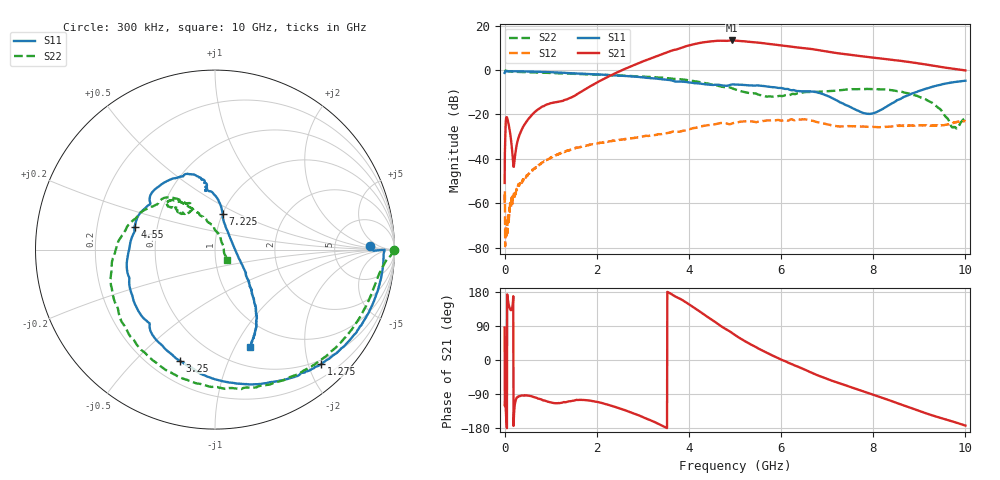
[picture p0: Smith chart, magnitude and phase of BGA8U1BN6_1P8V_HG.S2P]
!Agilent Technologies,E5071C,MY46316587,B.13.01
!Date: Tue Nov 28 12:49:08 2017
!Data & Calibration Information:
!Freq	S11:SOLT2(ON)	S21:SOLT2(ON)	S12:SOLT2(ON)	S22:SOLT2(ON)
!PortZ  Port1:50+j0  Port2:50+j0
!Above PortZ is port z conversion or system Z0 setting when saving the data.
!When reading, reference impedance value at option line is always used.
# Hz S RI R 50
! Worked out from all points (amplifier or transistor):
!   1601 points, 300 kHz to 10 GHz, reference 50 ohm
!   highest |S21| = 13.4 dB at 4.925 GHz (marker M1)
!   |S21| within 3 dB of that: 3.875 GHz to 6.296 GHz (2.421 GHz wide, 47.6 % of centre)
!   unconditionally stable (mu >= 1): start of sweep to end of sweep
!   at 1.663 GHz: K = 8.84, MAG = 0.0 dB, |S12| = -34.6 dB
!   at 5 GHz: K = 1.43, MAG = 14.6 dB, |S12| = -23.6 dB
!   at 10 GHz: K = 4.82, MAG = 1.6 dB, |S12| = -23.0 dB
!   lowest NFmin = 1.52 dB at 5.4 GHz
!   S11 on the Smith chart (normalised r, x): 300 kHz: 13, +2; 1.275 GHz: 0.43, -2.22; 3.25 GHz: 0.32, -0.68; 4.55 GHz: 0.37, +0.12; 7.225 GHz: 1.00, +0.42; 10 GHz: 0.71, -1.15
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300000  0.8636 0.0211  0.000209 0.00285  0.00096 0.00033  0.9952 -0.000725
6.904794e7  0.9393 -0.0425  -0.07 0.0243  -0.000201 0.00017  0.9422 -0.0809
2.065438e8  0.9299 -0.133  -0.00562 -0.00488  -0.000505 0.00153  0.9016 -0.1681
5.690329e8  0.8577 -0.3484  -0.00847 -0.0913  -0.00098 0.00491  0.8069 -0.3778
1.275262e9  0.5899 -0.6376  -0.0745 -0.1905  0.000591 0.014  0.5075 -0.6673
1.669e9  0.423 -0.715  -0.0869 -0.3166  0.00394 0.0183  0.3127 -0.749
2.493975e9  0.0997 -0.7433  -0.5723 -0.743  0.0113 0.0241  -0.0881 -0.7472
3.250202e9  -0.1977 -0.6189  -1.883 -0.5595  0.0187 0.0288  -0.418 -0.5508
3.3377e9  -0.2349 -0.5888  -2.09 -0.4233  0.0202 0.0299  -0.4487 -0.5091
4.018929e9  -0.4662 -0.2427  -3.004 2.052  0.0305 0.0355  -0.5753 -0.0914
4.243923e9  -0.4916 -0.0726  -2.498 3.279  0.0382 0.0373  -0.532 0.0576
4.550164e9  -0.448 0.1275  -0.934 4.404  0.0494 0.0337  -0.4167 0.2057
4.925152e9  -0.3554 0.3112  1.421 4.428  0.0573 0.0238  -0.2655 0.2909
5.00015e9  -0.3205 0.3464  1.89 4.214  0.0616 0.0229  -0.2288 0.2868
5.293891e9  -0.2081 0.4011  3.107 3.049  0.0699 0.00887  -0.163 0.2588
5.65638e9  -0.1146 0.4176  3.714 1.416  0.0722 -0.00387  -0.1288 0.2205
6.156365e9  -0.0487 0.3693  3.407 -0.4311  0.0667 -0.0294  -0.1797 0.2023
6.66885e9  -0.0346 0.3256  2.472 -1.656  0.0419 -0.059  -0.2194 0.2355
7.225083e9  0.0436 0.1982  1.211 -2.071  0.0139 -0.0525  -0.2531 0.2389
8.33755e9  0.1448 -0.0709  -0.4723 -1.672  -0.0265 -0.046  -0.2294 0.2754
9.081278e9  0.2184 -0.2874  -1.014 -0.916  -0.0522 -0.0224  -0.101 0.2083
1e10  0.1937 -0.5433  -0.9757 -0.1177  -0.0699 0.01  0.0651 -0.0584
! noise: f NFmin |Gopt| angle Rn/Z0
5e+09  1.735  0.1046  -127.4  0.1867
5.1e+09  1.655  0.08721  -156  0.1738
5.2e+09  1.592  0.08903  171.3  0.1653
5.3e+09  1.554  0.1111  170.4  0.1534
5.4e+09  1.522  0.1078  179.2  0.1556
5.55e+09  1.555  0.1151  179.8  0.1597
5.65e+09  1.601  0.1219  -174.7  0.1593
5.75e+09  1.623  0.1262  -178.2  0.1578
5.85e+09  1.689  0.1207  -176.9  0.1735
6e+09  1.706  0.1405  -176.5  0.1597
